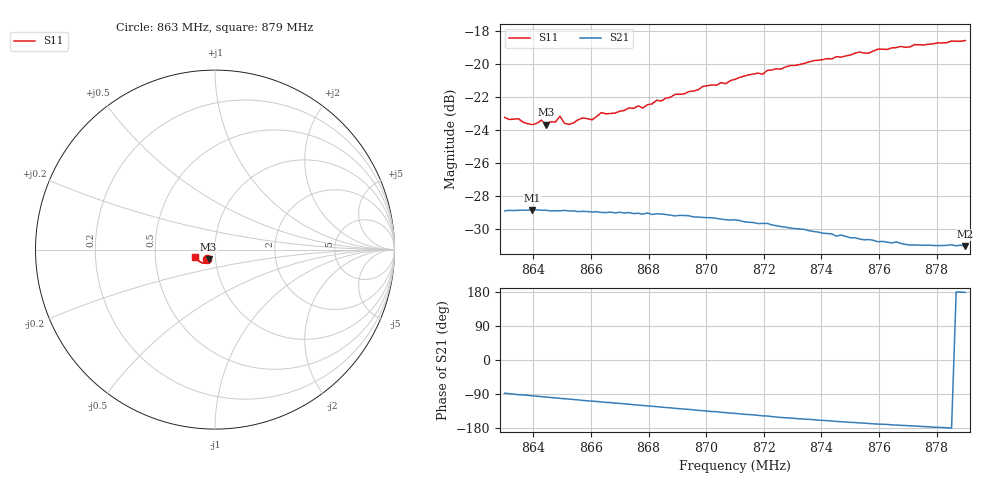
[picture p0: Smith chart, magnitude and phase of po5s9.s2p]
# HZ S RI R 50
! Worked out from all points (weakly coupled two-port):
!   101 points, 863 MHz to 879 MHz, reference 50 ohm
!   highest |S21| = -28.84 dB at 863.96 MHz (marker M1); lowest = -31.0 dB at 879 MHz (marker M2)
!   lowest |S11| = -23.7 dB at 864.44 MHz (marker M3), VSWR 1.14, Z = 46.2 - j5.06 ohm
!   |S11| at or under -10 dB: start of sweep to end of sweep
!   S12 and S22 are empty: the file has one direction only
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8.63e8  -0.0426 -0.0542  0.00148 -0.0359  0 0  0 0
8.6348e8  -0.0406 -0.0549  -0.000884 -0.036  0 0  0 0
8.6396e8  -0.0378 -0.0535  -0.00284 -0.036  0 0  0 0
8.6428e8  -0.0368 -0.0567  -0.00436 -0.0358  0 0  0 0
8.6444e8  -0.0362 -0.0545  -0.00486 -0.0357  0 0  0 0
8.6476e8  -0.0359 -0.0562  -0.00622 -0.0354  0 0  0 0
8.6492e8  -0.0397 -0.057  -0.00695 -0.0352  0 0  0 0
8.6508e8  -0.0343 -0.0566  -0.00762 -0.0352  0 0  0 0
8.6524e8  -0.0334 -0.0564  -0.00812 -0.035  0 0  0 0
8.6572e8  -0.0338 -0.0598  -0.0103 -0.0343  0 0  0 0
8.6604e8  -0.0323 -0.0596  -0.0114 -0.0338  0 0  0 0
8.6636e8  -0.0362 -0.0613  -0.0126 -0.0332  0 0  0 0
8.6684e8  -0.0335 -0.0626  -0.0142 -0.0324  0 0  0 0
8.6764e8  -0.0355 -0.0657  -0.0171 -0.0309  0 0  0 0
8.678e8  -0.0342 -0.0651  -0.0176 -0.0304  0 0  0 0
8.6828e8  -0.0363 -0.0686  -0.0192 -0.0295  0 0  0 0
8.6844e8  -0.0362 -0.0683  -0.0198 -0.029  0 0  0 0
8.6892e8  -0.0399 -0.0704  -0.0211 -0.0275  0 0  0 0
8.71e8  -0.049 -0.0754  -0.0261 -0.0213  0 0  0 0
8.7372e8  -0.0703 -0.0743  -0.0287 -0.0119  0 0  0 0
8.7644e8  -0.0935 -0.0614  -0.0284 -0.00444  0 0  0 0
8.79e8  -0.1112 -0.0389  -0.0281 0.000835  0 0  0 0
